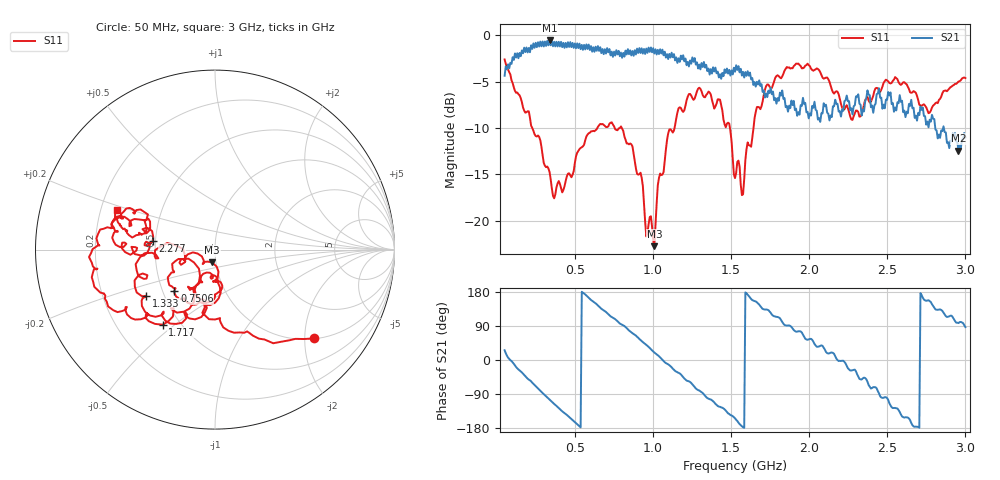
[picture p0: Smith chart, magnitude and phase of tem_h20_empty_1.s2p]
! nanovna_capture.py 2026-10-26T21:00:13+0900
! NanoVNA-F_V2 fw 0.6.0 SN 4A3639384505514B
! cal: load open short thru cal'ed  over 50000000-3000000000 Hz, 201 points
! points 401, avg 4
! TEM cell h=20 (septum+ramps trimmed ~2 mm each end), empty
# HZ S RI R 50
! S12 and S22 are not measured (written as 0)
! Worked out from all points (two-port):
!   401 points, 50 MHz to 3 GHz, reference 50 ohm
!   highest |S21| = -0.56 dB at 337.6 MHz (marker M1); lowest = -12.4 dB at 2.956 GHz (marker M2)
!   |S21| within 3 dB of the highest: 79.58 MHz to 1.289 GHz (1.209 GHz wide, 177 % of centre); 1.305 GHz to 1.345 GHz (39.68 MHz wide, 3 % of centre) (the widest 2 of 10)
!   lowest |S11| = -22.7 dB at 1.009 GHz (marker M3), VSWR 1.16, Z = 47.9 - j6.85 ohm
!   |S11| at or under -10 dB: 227.2 MHz to 643.5 MHz (416.3 MHz wide, 95.6 % of centre); 800.4 MHz to 1.138 GHz (337.2 MHz wide, 34.8 % of centre); 1.493 GHz to 1.643 GHz (150.8 MHz wide, 9.62 % of centre) (the widest 3 of 4)
!   S12 and S22 are empty: the file has one direction only
!   S11 on the Smith chart (normalised r, x): 50 MHz: 1.01, -2.22; 750.6 MHz: 0.58, -0.30; 1.333 GHz: 0.40, -0.26; 1.717 GHz: 0.40, -0.45; 2.277 GHz: 0.48, +0.05; 3 GHz: 0.27, +0.18
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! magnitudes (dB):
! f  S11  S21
! 50 MHz  -2.6  -4.4
! 337.6 MHz  -14.7  -0.6
! 426.1 MHz  -16.7  -0.8
! 544.1 MHz  -12.1  -1.0
! 750.6 MHz  -9.8  -1.8
! 861.2 MHz  -11.8  -2.2
! 927.6 MHz  -15.4  -1.4
! 957.1 MHz  -21.7  -1.4
! 1.009 GHz  -22.7  -2.0
! 1.038 GHz  -15.4  -2.0
! 1.164 GHz  -7.9  -2.5
! 1.333 GHz  -6.7  -3.5
! 1.429 GHz  -6.9  -4.2
! 1.525 GHz  -15.4  -3.9
! 1.577 GHz  -17.1  -3.9
! 1.717 GHz  -5.8  -6.7
! 2.019 GHz  -3.7  -7.6
! 2.277 GHz  -9.1  -8.5
! 2.513 GHz  -5.1  -6.5
! 2.771 GHz  -8.3  -9.1
! 2.956 GHz  -5.0  -12.4
! 3 GHz  -4.6  -11.0
